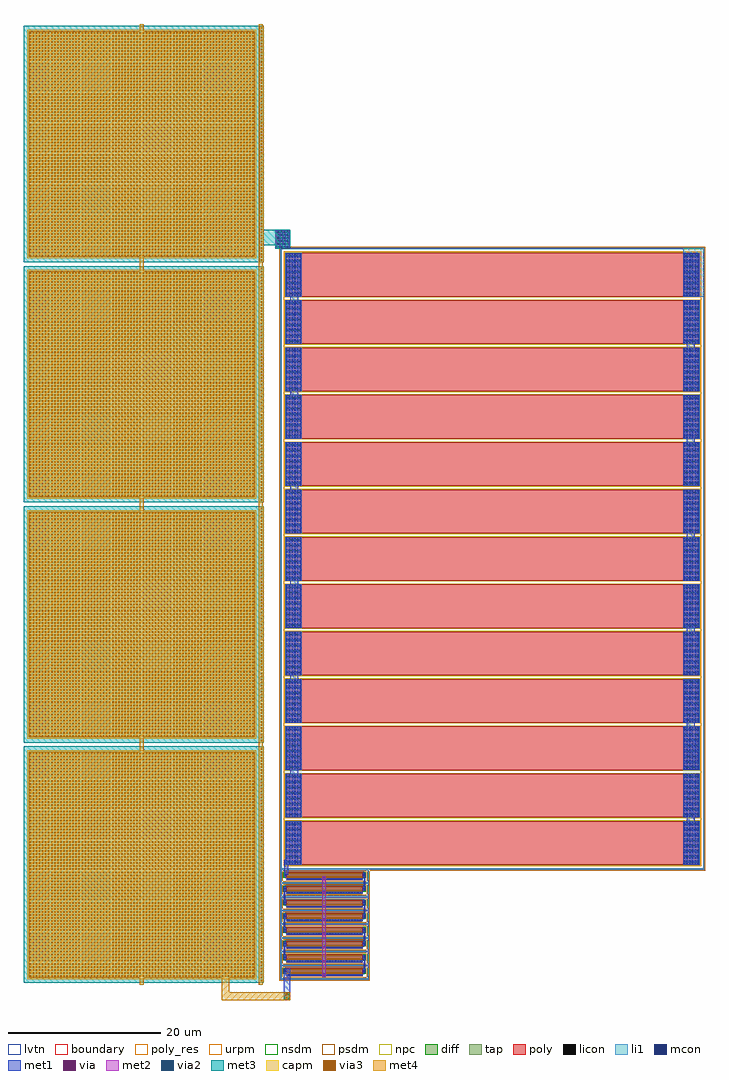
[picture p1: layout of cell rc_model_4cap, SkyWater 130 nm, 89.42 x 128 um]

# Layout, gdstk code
from math import pi, radians
import gdstk
lib = gdstk.Library(unit=1e-6, precision=1e-09)
def R(c, l, rs):  # rectangles x0, y0, x1, y1
    for r in rs: c.add(gdstk.rectangle(r[:2], r[2:], *l))
def A(c, l, x, y, w, h, nx, ny, dx, dy):  # array of equal rectangles
    R(c, l, [(x+i*dx, y+j*dy, x+i*dx+w, y+j*dy+h) for i in range(nx) for j in range(ny)])
diff = (65, 20)
tap = (65, 44)
poly_res = (66, 13)
poly = (66, 20)
licon = (66, 44)
li1 = (67, 20)
mcon = (67, 44)
met1 = (68, 20)
via = (68, 44)
met2 = (69, 20)
via2 = (69, 44)
met3 = (70, 20)
via3 = (70, 44)
met4 = (71, 20)
urpm = (79, 20)
capm = (89, 44)
nsdm = (93, 44)
psdm = (94, 20)
npc = (95, 20)
lvtn = (125, 44)
boundary = (235, 4)

sky130_fd_pr__res_xhigh_ = lib.new_cell('sky130_fd_pr__res_xhigh_po_5p73_AW8RAB')
R(sky130_fd_pr__res_xhigh_, tap, [(-40.775,-27.81,40.775,-27.64), (-40.775,-27.64,-40.605,27.64), (40.605,-27.64,40.775,27.64), (-40.775,27.64,40.775,27.81)])
A(sky130_fd_pr__res_xhigh_, poly_res, -40.125, -25.06, 5.73, 50.12, 13, 1, 6.21, 0)
A(sky130_fd_pr__res_xhigh_, poly, -40.125, -27.16, 5.73, 54.32, 13, 1, 6.21, 0)
A(sky130_fd_pr__res_xhigh_, licon, -40.205, -27.81, 0.17, 0.17, 237, 2, 0.34, 55.45)
A(sky130_fd_pr__res_xhigh_, licon, -39.84, -27.08, 0.19, 2, 8, 2, 0.71, 52.16)
A(sky130_fd_pr__res_xhigh_, licon, -33.63, -27.08, 0.19, 2, 8, 2, 0.71, 52.16)
A(sky130_fd_pr__res_xhigh_, licon, -27.42, -27.08, 0.19, 2, 8, 2, 0.71, 52.16)
A(sky130_fd_pr__res_xhigh_, licon, -21.21, -27.08, 0.19, 2, 8, 2, 0.71, 52.16)
A(sky130_fd_pr__res_xhigh_, licon, -15, -27.08, 0.19, 2, 8, 2, 0.71, 52.16)
A(sky130_fd_pr__res_xhigh_, licon, -8.79, -27.08, 0.19, 2, 8, 2, 0.71, 52.16)
A(sky130_fd_pr__res_xhigh_, licon, -2.58, -27.08, 0.19, 2, 8, 2, 0.71, 52.16)
A(sky130_fd_pr__res_xhigh_, licon, 3.63, -27.08, 0.19, 2, 8, 2, 0.71, 52.16)
A(sky130_fd_pr__res_xhigh_, licon, 9.84, -27.08, 0.19, 2, 8, 2, 0.71, 52.16)
A(sky130_fd_pr__res_xhigh_, licon, 16.05, -27.08, 0.19, 2, 8, 2, 0.71, 52.16)
A(sky130_fd_pr__res_xhigh_, licon, 22.26, -27.08, 0.19, 2, 8, 2, 0.71, 52.16)
A(sky130_fd_pr__res_xhigh_, licon, 28.47, -27.08, 0.19, 2, 8, 2, 0.71, 52.16)
A(sky130_fd_pr__res_xhigh_, licon, 34.68, -27.08, 0.19, 2, 8, 2, 0.71, 52.16)
A(sky130_fd_pr__res_xhigh_, li1, -40.125, -27.16, 5.73, 2.16, 13, 2, 6.21, 52.16)
R(sky130_fd_pr__res_xhigh_, li1, [(-40.775,-27.81,40.775,-27.64), (-40.775,-27.64,-40.605,27.64), (40.605,-27.64,40.775,27.64), (-40.775,27.64,40.775,27.81)])
A(sky130_fd_pr__res_xhigh_, mcon, -40.045, -27.065, 0.17, 0.17, 16, 6, 0.36, 0.36)
A(sky130_fd_pr__res_xhigh_, mcon, -33.835, -27.065, 0.17, 0.17, 16, 6, 0.36, 0.36)
A(sky130_fd_pr__res_xhigh_, mcon, -27.625, -27.065, 0.17, 0.17, 16, 6, 0.36, 0.36)
A(sky130_fd_pr__res_xhigh_, mcon, -21.415, -27.065, 0.17, 0.17, 16, 6, 0.36, 0.36)
A(sky130_fd_pr__res_xhigh_, mcon, -15.205, -27.065, 0.17, 0.17, 16, 6, 0.36, 0.36)
A(sky130_fd_pr__res_xhigh_, mcon, -8.995, -27.065, 0.17, 0.17, 16, 6, 0.36, 0.36)
A(sky130_fd_pr__res_xhigh_, mcon, -2.785, -27.065, 0.17, 0.17, 16, 6, 0.36, 0.36)
A(sky130_fd_pr__res_xhigh_, mcon, 3.425, -27.065, 0.17, 0.17, 16, 6, 0.36, 0.36)
A(sky130_fd_pr__res_xhigh_, mcon, 9.635, -27.065, 0.17, 0.17, 16, 6, 0.36, 0.36)
A(sky130_fd_pr__res_xhigh_, mcon, 15.845, -27.065, 0.17, 0.17, 16, 6, 0.36, 0.36)
A(sky130_fd_pr__res_xhigh_, mcon, 22.055, -27.065, 0.17, 0.17, 16, 6, 0.36, 0.36)
A(sky130_fd_pr__res_xhigh_, mcon, 28.265, -27.065, 0.17, 0.17, 16, 6, 0.36, 0.36)
A(sky130_fd_pr__res_xhigh_, mcon, 34.475, -27.065, 0.17, 0.17, 16, 6, 0.36, 0.36)
A(sky130_fd_pr__res_xhigh_, mcon, -40.045, 25.09, 0.17, 0.17, 16, 6, 0.36, 0.36)
A(sky130_fd_pr__res_xhigh_, mcon, -33.835, 25.09, 0.17, 0.17, 16, 6, 0.36, 0.36)
A(sky130_fd_pr__res_xhigh_, mcon, -27.625, 25.09, 0.17, 0.17, 16, 6, 0.36, 0.36)
A(sky130_fd_pr__res_xhigh_, mcon, -21.415, 25.09, 0.17, 0.17, 16, 6, 0.36, 0.36)
A(sky130_fd_pr__res_xhigh_, mcon, -15.205, 25.09, 0.17, 0.17, 16, 6, 0.36, 0.36)
A(sky130_fd_pr__res_xhigh_, mcon, -8.995, 25.09, 0.17, 0.17, 16, 6, 0.36, 0.36)
A(sky130_fd_pr__res_xhigh_, mcon, -2.785, 25.09, 0.17, 0.17, 16, 6, 0.36, 0.36)
A(sky130_fd_pr__res_xhigh_, mcon, 3.425, 25.09, 0.17, 0.17, 16, 6, 0.36, 0.36)
A(sky130_fd_pr__res_xhigh_, mcon, 9.635, 25.09, 0.17, 0.17, 16, 6, 0.36, 0.36)
A(sky130_fd_pr__res_xhigh_, mcon, 15.845, 25.09, 0.17, 0.17, 16, 6, 0.36, 0.36)
A(sky130_fd_pr__res_xhigh_, mcon, 22.055, 25.09, 0.17, 0.17, 16, 6, 0.36, 0.36)
A(sky130_fd_pr__res_xhigh_, mcon, 28.265, 25.09, 0.17, 0.17, 16, 6, 0.36, 0.36)
A(sky130_fd_pr__res_xhigh_, mcon, 34.475, 25.09, 0.17, 0.17, 16, 6, 0.36, 0.36)
A(sky130_fd_pr__res_xhigh_, met1, -40.105, -27.1, 5.69, 2.045, 13, 2, 6.21, 52.155)
R(sky130_fd_pr__res_xhigh_, urpm, [(-40.325,-27.36,40.325,27.36)])
R(sky130_fd_pr__res_xhigh_, psdm, [(-40.9,-27.935,40.9,27.935)])
A(sky130_fd_pr__res_xhigh_, npc, -40.22, -27.255, 5.92, 54.51, 13, 1, 6.21, 0)
R(sky130_fd_pr__res_xhigh_, boundary, [(-40.69,-27.725,40.69,27.725)])

sky130_fd_pr__nfet_01v8_ = lib.new_cell('sky130_fd_pr__nfet_01v8_lvt_Z6RSN3')
R(sky130_fd_pr__nfet_01v8_, diff, [(-5.29,-0.095,5.29,0.405)])
R(sky130_fd_pr__nfet_01v8_, tap, [(-5.8,-0.965,5.8,-0.795), (-5.8,-0.795,-5.63,0.795), (5.63,-0.795,5.8,0.795), (-5.8,0.795,5.8,0.965)])
R(sky130_fd_pr__nfet_01v8_, poly, [(-5,-0.535,5,0.535)])
A(sky130_fd_pr__nfet_01v8_, licon, -4.845, -0.455, 0.17, 0.17, 29, 1, 0.34, 0)
A(sky130_fd_pr__nfet_01v8_, licon, -5.8, -0.425, 0.17, 0.17, 1, 3, 0, 0.34)
A(sky130_fd_pr__nfet_01v8_, licon, 5.63, -0.425, 0.17, 0.17, 1, 3, 0, 0.34)
R(sky130_fd_pr__nfet_01v8_, licon, [(-5.23,0.07,-5.06,0.24), (5.06,0.07,5.23,0.24)])
R(sky130_fd_pr__nfet_01v8_, li1, [(-5.8,-0.965,5.8,-0.795), (-5.8,-0.795,-5.63,0.795), (5.63,-0.795,5.8,0.795), (-5,-0.455,5,-0.285), (-5.23,-0.115,-5.06,0.425), (5.06,-0.115,5.23,0.425), (-5.8,0.795,5.8,0.965)])
A(sky130_fd_pr__nfet_01v8_, mcon, -4.765, -0.455, 0.17, 0.17, 27, 1, 0.36, 0)
R(sky130_fd_pr__nfet_01v8_, mcon, [(-5.23,0.07,-5.06,0.24), (5.06,0.07,5.23,0.24)])
R(sky130_fd_pr__nfet_01v8_, met1, [(-4.98,-0.485,4.98,-0.255), (-5.26,-0.095,-5.03,0.405), (5.03,-0.095,5.26,0.405)])
R(sky130_fd_pr__nfet_01v8_, nsdm, [(-5.415,-0.22,5.415,0.53)])
R(sky130_fd_pr__nfet_01v8_, psdm, [(-5.925,-1.09,5.925,-0.67), (-5.925,-0.67,-5.505,0.67), (5.505,-0.67,5.925,0.67), (-5.925,0.67,5.925,1.09)])
R(sky130_fd_pr__nfet_01v8_, npc, [(-4.945,-0.555,4.945,-0.185)])
R(sky130_fd_pr__nfet_01v8_, lvtn, [(-5.18,-0.275,5.18,0.585)])
R(sky130_fd_pr__nfet_01v8_, boundary, [(-5.715,-0.88,5.715,0.88)])

sky130_fd_pr__cap_mim_m3 = lib.new_cell('sky130_fd_pr__cap_mim_m3_1_LQXKLG')
A(sky130_fd_pr__cap_mim_m3, met3, -15.75, -62.75, 31.495, 31, 1, 4, 0, 31.5)
A(sky130_fd_pr__cap_mim_m3, via3, 15.385, -62.55, 0.2, 0.2, 1, 77, 0, 0.4)
A(sky130_fd_pr__cap_mim_m3, via3, -14.95, -61.95, 0.2, 0.2, 74, 74, 0.4, 0.4)
A(sky130_fd_pr__cap_mim_m3, via3, 15.385, -31.05, 0.2, 0.2, 1, 77, 0, 0.4)
A(sky130_fd_pr__cap_mim_m3, via3, -14.95, -30.45, 0.2, 0.2, 74, 74, 0.4, 0.4)
A(sky130_fd_pr__cap_mim_m3, via3, 15.385, 0.45, 0.2, 0.2, 1, 77, 0, 0.4)
A(sky130_fd_pr__cap_mim_m3, via3, -14.95, 1.05, 0.2, 0.2, 74, 74, 0.4, 0.4)
A(sky130_fd_pr__cap_mim_m3, via3, 15.385, 31.95, 0.2, 0.2, 1, 77, 0, 0.4)
A(sky130_fd_pr__cap_mim_m3, via3, -14.95, 32.55, 0.2, 0.2, 74, 74, 0.4, 0.4)
A(sky130_fd_pr__cap_mim_m3, met4, 15.09, -62.69, 0.635, 30.88, 1, 4, 0, 31.5)
A(sky130_fd_pr__cap_mim_m3, met4, -15.055, -62.055, 29.61, 29.61, 1, 4, 0, 31.5)
A(sky130_fd_pr__cap_mim_m3, met4, -0.51, -32.445, 0.52, 1.89, 1, 3, 0, 31.5)
A(sky130_fd_pr__cap_mim_m3, met4, 15.09, -31.81, 0.52, 0.62, 1, 3, 0, 31.5)
R(sky130_fd_pr__cap_mim_m3, met4, [(-0.51,-63,0.01,-62.055), (15.09,-63,15.61,-62.69), (-0.51,62.055,0.01,63), (15.09,62.69,15.61,63)])
A(sky130_fd_pr__cap_mim_m3, capm, -15.25, -62.25, 30, 30, 1, 4, 0, 31.5)
R(sky130_fd_pr__cap_mim_m3, boundary, [(-15.75,31.75,15.25,62.75)])

rc_model_4cap = lib.new_cell('rc_model_4cap')
R(rc_model_4cap, li1, [(126.5,10.2,129.3,16.6), (73,16.5,75,19)])
A(rc_model_4cap, mcon, 73.195, 16.765, 0.17, 0.17, 5, 6, 0.36, 0.36)
A(rc_model_4cap, met1, 79.15, -78.9, 0.5, 0.4, 1, 8, 0, 1.8)
A(rc_model_4cap, met1, 74.1, -76.7, 0.2, 2.4, 1, 3, 0, 3.6)
A(rc_model_4cap, met1, 84.6, -74.9, 0.2, 2.4, 1, 3, 0, 3.6)
A(rc_model_4cap, met1, 127, -48, 1, 5, 1, 3, 0, 12)
A(rc_model_4cap, met1, 75, -17, 1, 5, 1, 3, 0, 12)
R(rc_model_4cap, met1, [(74.1,-81.9,75,-77.9), (84.6,-78.4,84.8,-76.1), (74.2,-65.6,74.7,-63.6), (127,-61,128,-56), (75,-55,76,-50), (75,-42,76,-37), (75,-30,76,-25), (127,-11,128,-6), (127,2,128,7), (73.07,16.54,74.93,16.6), (73.05,16.6,74.95,18.9), (73.07,18.9,74.93,18.96)])
A(rc_model_4cap, via, 79.325, -78.775, 0.15, 0.15, 1, 8, 0, 1.8)
A(rc_model_4cap, via, 73.285, 16.715, 0.15, 0.15, 5, 7, 0.32, 0.32)
R(rc_model_4cap, via, [(74.315,-81.735,74.465,-81.585), (74.635,-81.735,74.785,-81.585), (74.315,-81.415,74.465,-81.265), (74.635,-81.415,74.785,-81.265)])
R(rc_model_4cap, met2, [(74.2,-81.95,74.9,-81.05), (79.2,-79,79.6,-65.8), (73.1,16.55,74.9,18.95)])
A(rc_model_4cap, via2, 73.3, 16.65, 0.2, 0.2, 4, 6, 0.4, 0.4)
R(rc_model_4cap, via2, [(74.25,-81.8,74.45,-81.6), (74.65,-81.8,74.85,-81.6), (74.25,-81.4,74.45,-81.2), (74.65,-81.4,74.85,-81.2)])
R(rc_model_4cap, met3, [(74.15,-81.925,74.95,-81.075), (73,16.5,75,17), (70,17,75,19)])
R(rc_model_4cap, via3, [(74.45,-81.8,74.65,-81.6), (74.45,-81.4,74.65,-81.2)])
R(rc_model_4cap, met4, [(66,-82,75,-81), (66,-81,67,-77)])
rc_model_4cap.add(gdstk.Reference(sky130_fd_pr__res_xhigh_, (101.49,-24.145), rotation=3*pi/2))
rc_model_4cap.add(gdstk.Reference(sky130_fd_pr__nfet_01v8_, (79.48,-78.355)))
rc_model_4cap.add(gdstk.Reference(sky130_fd_pr__nfet_01v8_, (79.48,-76.555)))
rc_model_4cap.add(gdstk.Reference(sky130_fd_pr__nfet_01v8_, (79.48,-72.955)))
rc_model_4cap.add(gdstk.Reference(sky130_fd_pr__nfet_01v8_, (79.48,-71.155)))
rc_model_4cap.add(gdstk.Reference(sky130_fd_pr__nfet_01v8_, (79.48,-65.755)))
rc_model_4cap.add(gdstk.Reference(sky130_fd_pr__nfet_01v8_, (79.48,-67.555)))
rc_model_4cap.add(gdstk.Reference(sky130_fd_pr__nfet_01v8_, (79.48,-74.755)))
rc_model_4cap.add(gdstk.Reference(sky130_fd_pr__nfet_01v8_, (79.48,-69.355)))
rc_model_4cap.add(gdstk.Reference(sky130_fd_pr__cap_mim_m3, (55.75,-17)))

lib.write_gds('rc_model_4cap.gds')
